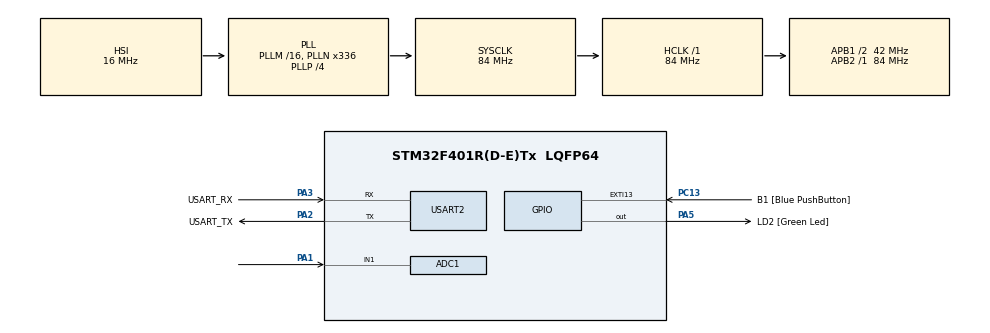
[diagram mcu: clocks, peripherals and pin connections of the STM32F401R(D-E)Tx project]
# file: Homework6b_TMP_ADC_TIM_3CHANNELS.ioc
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ADC1.Channel-0\#ChannelRegularConversion=ADC_CHANNEL_1
ADC1.Channel-1\#ChannelRegularConversion=ADC_CHANNEL_TEMPSENSOR
ADC1.Channel-2\#ChannelRegularConversion=ADC_CHANNEL_VREFINT
ADC1.ContinuousConvMode=DISABLE
ADC1.DMAContinuousRequests=ENABLE
ADC1.ExternalTrigConv=ADC_EXTERNALTRIGCONV_T2_TRGO
ADC1.InjNumberOfConversion=0
ADC1.NbrOfConversion=3
ADC1.NbrOfConversionFlag=1
ADC1.Rank-0\#ChannelRegularConversion=1
ADC1.Rank-1\#ChannelRegularConversion=2
ADC1.Rank-2\#ChannelRegularConversion=3
ADC1.SamplingTime-0\#ChannelRegularConversion=ADC_SAMPLETIME_480CYCLES
ADC1.SamplingTime-1\#ChannelRegularConversion=ADC_SAMPLETIME_480CYCLES
ADC1.SamplingTime-2\#ChannelRegularConversion=ADC_SAMPLETIME_480CYCLES
ADC1.ScanConvMode=ENABLE
ADC1.master=1
Dma.ADC1.0.Direction=DMA_PERIPH_TO_MEMORY
Dma.ADC1.0.FIFOMode=DMA_FIFOMODE_DISABLE
Dma.ADC1.0.Instance=DMA2_Stream0
Dma.ADC1.0.MemDataAlignment=DMA_MDATAALIGN_HALFWORD
Dma.ADC1.0.MemInc=DMA_MINC_ENABLE
Dma.ADC1.0.Mode=DMA_CIRCULAR
Dma.ADC1.0.PeriphDataAlignment=DMA_PDATAALIGN_HALFWORD
Dma.ADC1.0.PeriphInc=DMA_PINC_DISABLE
Dma.ADC1.0.Priority=DMA_PRIORITY_LOW
Dma.Request0=ADC1
Dma.Request1=USART2_TX
Dma.USART2_TX.1.Direction=DMA_MEMORY_TO_PERIPH
Dma.USART2_TX.1.FIFOMode=DMA_FIFOMODE_DISABLE
Dma.USART2_TX.1.Instance=DMA1_Stream6
Dma.USART2_TX.1.MemDataAlignment=DMA_MDATAALIGN_BYTE
Dma.USART2_TX.1.MemInc=DMA_MINC_ENABLE
Dma.USART2_TX.1.Mode=DMA_NORMAL
Dma.USART2_TX.1.PeriphDataAlignment=DMA_PDATAALIGN_BYTE
Dma.USART2_TX.1.PeriphInc=DMA_PINC_DISABLE
Dma.USART2_TX.1.Priority=DMA_PRIORITY_LOW
Mcu.Family=STM32F4
Mcu.Name=STM32F401R(D-E)Tx
Mcu.Package=LQFP64
NVIC.ADC_IRQn=true\:0\:0\:false\:false\:true\:true\:true\:true
NVIC.DMA1_Stream6_IRQn=true\:0\:0\:false\:false\:true\:false\:true\:true
NVIC.DMA2_Stream0_IRQn=true\:0\:0\:false\:false\:true\:false\:true\:true
NVIC.PriorityGroup=NVIC_PRIORITYGROUP_4
NVIC.USART2_IRQn=true\:0\:0\:false\:false\:true\:true\:true\:true
PA1.Signal=ADCx_IN1
PA13.GPIO_Label=TMS
PA13.Mode=Trace_Asynchronous_SW
PA13.Signal=SYS_JTMS-SWDIO
PA14.GPIO_Label=TCK
PA14.Mode=Trace_Asynchronous_SW
PA14.Signal=SYS_JTCK-SWCLK
PA2.GPIO_Label=USART_TX
PA2.GPIO_Mode=GPIO_MODE_AF_PP
PA2.GPIO_PuPd=GPIO_NOPULL
PA2.GPIO_Speed=GPIO_SPEED_FREQ_LOW
PA2.Mode=Asynchronous
PA2.Signal=USART2_TX
PA3.GPIO_Label=USART_RX
PA3.GPIO_Mode=GPIO_MODE_AF_PP
PA3.GPIO_PuPd=GPIO_NOPULL
PA3.GPIO_Speed=GPIO_SPEED_FREQ_LOW
PA3.Mode=Asynchronous
PA3.Signal=USART2_RX
PA5.GPIO_Label=LD2 [Green Led]
PA5.GPIO_Mode=GPIO_MODE_OUTPUT_PP
PA5.GPIO_PuPd=GPIO_NOPULL
PA5.GPIO_Speed=GPIO_SPEED_FREQ_LOW
PA5.Signal=GPIO_Output
PB3.GPIO_Label=SWO
PB3.Mode=Trace_Asynchronous_SW
PB3.Signal=SYS_JTDO-SWO
PC13-ANTI_TAMP.GPIO_Label=B1 [Blue PushButton]
PC13-ANTI_TAMP.GPIO_ModeDefaultEXTI=GPIO_MODE_IT_FALLING
PC13-ANTI_TAMP.GPIO_PuPd=GPIO_NOPULL
PC13-ANTI_TAMP.Signal=GPXTI13
PC14-OSC32_IN.Mode=LSE-External-Oscillator
PC14-OSC32_IN.Signal=RCC_OSC32_IN
PC15-OSC32_OUT.Mode=LSE-External-Oscillator
PC15-OSC32_OUT.Signal=RCC_OSC32_OUT
PH0\ -\ OSC_IN.Mode=HSE-External-Clock-Source
PH0\ -\ OSC_IN.Signal=RCC_OSC_IN
PH1\ -\ OSC_OUT.Mode=HSE-External-Clock-Source
PH1\ -\ OSC_OUT.Signal=RCC_OSC_OUT
ProjectManager.HeapSize=0x200
ProjectManager.StackSize=0x400
ProjectManager.TargetToolchain=STM32CubeIDE
RCC.48MHZClocksFreq_Value=48000000
RCC.AHBFreq_Value=84000000
RCC.APB1CLKDivider=RCC_HCLK_DIV2
RCC.APB1Freq_Value=42000000
RCC.APB1TimFreq_Value=84000000
RCC.APB2Freq_Value=84000000
RCC.APB2TimFreq_Value=84000000
RCC.CortexFreq_Value=84000000
RCC.HCLKFreq_Value=84000000
RCC.HSE_VALUE=8000000
RCC.HSI_VALUE=16000000
RCC.PLLN=336
RCC.PLLP=RCC_PLLP_DIV4
RCC.PLLQ=7
RCC.SYSCLKFreq_VALUE=84000000
RCC.SYSCLKSource=RCC_SYSCLKSOURCE_PLLCLK
RCC.VCOOutputFreq_Value=336000000
SH.ADCx_IN1.0=ADC1_IN1,IN1
TIM2.Period=10000-1
TIM2.Prescaler=8400-1
TIM2.TIM_MasterOutputTrigger=TIM_TRGO_UPDATE
USART2.VirtualMode=VM_ASYNC
VP_ADC1_TempSens_Input.Mode=IN-TempSens
VP_ADC1_Vref_Input.Mode=IN-Vrefint
VP_TIM2_VS_ClockSourceINT.Mode=Internal
board=NUCLEO-F401RE

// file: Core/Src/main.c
/* USER CODE BEGIN Header */
/**
  ******************************************************************************
  * @file           : main.c
  * @brief          : Main program body
  ******************************************************************************
  * @attention
  *
  * Copyright (c) 2025 STMicroelectronics.
  * All rights reserved.
  *
  * This software is licensed under terms that can be found in the LICENSE file
  * in the root directory of this software component.
  * If no LICENSE file comes with this software, it is provided AS-IS.
  *
  ******************************************************************************

  * GOAL:
  * Acquire 3 voltages (potentiometer, temperature sensor, Vref)
  * every 1 s and to send them to a remote terminal.
  * The acquisition are started via hardware by a timer
  * and data are saved in the microcontroller memory using DMA.
  */

/* USER CODE END Header */
#include "main.h"

/* USER CODE BEGIN Includes */
#include "string.h"
#include "stdio.h"
/* USER CODE END Includes */

/* USER CODE BEGIN PD */

#define BUFF_LEN 3 //for the 3 measurements
#define STR_LEN 64 // for the string that I have to send via UART
#define LSB 3.3/4096.0 //for the conversion from Digital to Analog (float)
/*Internal temperature sensor of the Nucleo board parameters*/
#define V_25 0.76 //Voltage measured at 25°C
#define AVG_SLOPE 2.5 // average slope of the TMP VS V CURVE [mV/°C]
/* USER CODE END PD */

ADC_HandleTypeDef hadc1;
DMA_HandleTypeDef hdma_adc1;

TIM_HandleTypeDef htim2;

UART_HandleTypeDef huart2;
DMA_HandleTypeDef hdma_usart2_tx;

/* USER CODE BEGIN PV */

uint16_t dig_value[BUFF_LEN];

float an_value[BUFF_LEN];

char string[STR_LEN];

float temp = 0.0;//used to implement the conversion formula

int length;

/* USER CODE END PV */

void SystemClock_Config(void);
static void MX_GPIO_Init(void);
static void MX_DMA_Init(void);
static void MX_USART2_UART_Init(void);
static void MX_ADC1_Init(void);
static void MX_TIM2_Init(void);

/* USER CODE BEGIN 0 */
/*Every conversion of the three channels force a ISR*/
void HAL_ADC_ConvCpltCallback (ADC_HandleTypeDef *hadc){
	if (hadc == &hadc1){
		for (int i = 0; i < BUFF_LEN; i++){
			an_value[i] = LSB*dig_value[i];
		}
		 //Conversion from voltage to Celsius degrees
		temp = (an_value[1]- V_25)/AVG_SLOPE + 25;

		length = snprintf(string, sizeof(string), "POT: %.3f, TMP: %.3f, VREF: %.3f \n",an_value[0], temp, an_value[2]);

		HAL_UART_Transmit_DMA(&huart2, string, length);
	}

}
/* USER CODE END 0 */

int main(void)
{

  /* MCU Configuration--------------------------------------------------------*/

  /* Reset of all peripherals, Initializes the Flash interface and the Systick. */
  HAL_Init();

  /* Configure the system clock */
  SystemClock_Config();

  /* Initialize all configured peripherals */
  MX_GPIO_Init();
  MX_DMA_Init();
  MX_USART2_UART_Init();
  MX_ADC1_Init();
  MX_TIM2_Init();
  /* USER CODE BEGIN 2 */

  /*PARAMETERS: (Which ADC, Where to save, how many values)
   * Enables ADC DMA request after last transfer (Single-ADC mode)
   * and enables ADC peripheral*/
  HAL_ADC_Start_DMA(&hadc1, dig_value, BUFF_LEN);

  __HAL_TIM_SET_COUNTER(&htim2, 0);

  HAL_TIM_Base_Start(&htim2);// start timer
  /* USER CODE END 2 */

  /* Infinite loop */
  while (1)
  {

  }
}

void SystemClock_Config(void)
{
  RCC_OscInitTypeDef RCC_OscInitStruct = {0};
  RCC_ClkInitTypeDef RCC_ClkInitStruct = {0};

  /** Configure the main internal regulator output voltage
  */
  __HAL_RCC_PWR_CLK_ENABLE();
  __HAL_PWR_VOLTAGESCALING_CONFIG(PWR_REGULATOR_VOLTAGE_SCALE2);

  /** Initializes the RCC Oscillators according to the specified parameters
  * in the RCC_OscInitTypeDef structure.
  */
  RCC_OscInitStruct.OscillatorType = RCC_OSCILLATORTYPE_HSI;
  RCC_OscInitStruct.HSIState = RCC_HSI_ON;
  RCC_OscInitStruct.HSICalibrationValue = RCC_HSICALIBRATION_DEFAULT;
  RCC_OscInitStruct.PLL.PLLState = RCC_PLL_ON;
  RCC_OscInitStruct.PLL.PLLSource = RCC_PLLSOURCE_HSI;
  RCC_OscInitStruct.PLL.PLLM = 16;
  RCC_OscInitStruct.PLL.PLLN = 336;
  RCC_OscInitStruct.PLL.PLLP = RCC_PLLP_DIV4;
  RCC_OscInitStruct.PLL.PLLQ = 7;
  if (HAL_RCC_OscConfig(&RCC_OscInitStruct) != HAL_OK)
  {
    Error_Handler();
  }

  /** Initializes the CPU, AHB and APB buses clocks
  */
  RCC_ClkInitStruct.ClockType = RCC_CLOCKTYPE_HCLK|RCC_CLOCKTYPE_SYSCLK
                              |RCC_CLOCKTYPE_PCLK1|RCC_CLOCKTYPE_PCLK2;
  RCC_ClkInitStruct.SYSCLKSource = RCC_SYSCLKSOURCE_PLLCLK;
  RCC_ClkInitStruct.AHBCLKDivider = RCC_SYSCLK_DIV1;
  RCC_ClkInitStruct.APB1CLKDivider = RCC_HCLK_DIV2;
  RCC_ClkInitStruct.APB2CLKDivider = RCC_HCLK_DIV1;

  if (HAL_RCC_ClockConfig(&RCC_ClkInitStruct, FLASH_LATENCY_2) != HAL_OK)
  {
    Error_Handler();
  }
}

static void MX_ADC1_Init(void)
{

  ADC_ChannelConfTypeDef sConfig = {0};

  /** Configure the global features of the ADC (Clock, Resolution, Data Alignment and number of conversion)
  */
  hadc1.Instance = ADC1;
  hadc1.Init.ClockPrescaler = ADC_CLOCK_SYNC_PCLK_DIV4;
  hadc1.Init.Resolution = ADC_RESOLUTION_12B;
  hadc1.Init.ScanConvMode = ENABLE;
  hadc1.Init.ContinuousConvMode = DISABLE;
  hadc1.Init.DiscontinuousConvMode = DISABLE;
  hadc1.Init.ExternalTrigConvEdge = ADC_EXTERNALTRIGCONVEDGE_RISING;
  hadc1.Init.ExternalTrigConv = ADC_EXTERNALTRIGCONV_T2_TRGO;
  hadc1.Init.DataAlign = ADC_DATAALIGN_RIGHT;
  hadc1.Init.NbrOfConversion = 3;
  hadc1.Init.DMAContinuousRequests = ENABLE;
  hadc1.Init.EOCSelection = ADC_EOC_SINGLE_CONV;
  if (HAL_ADC_Init(&hadc1) != HAL_OK)
  {
    Error_Handler();
  }

  /** Configure for the selected ADC regular channel its corresponding rank in the sequencer and its sample time.
  */
  sConfig.Channel = ADC_CHANNEL_1;
  sConfig.Rank = 1;
  sConfig.SamplingTime = ADC_SAMPLETIME_480CYCLES;
  if (HAL_ADC_ConfigChannel(&hadc1, &sConfig) != HAL_OK)
  {
    Error_Handler();
  }

  /** Configure for the selected ADC regular channel its corresponding rank in the sequencer and its sample time.
  */
  sConfig.Channel = ADC_CHANNEL_TEMPSENSOR;
  sConfig.Rank = 2;
  if (HAL_ADC_ConfigChannel(&hadc1, &sConfig) != HAL_OK)
  {
    Error_Handler();
  }

  /** Configure for the selected ADC regular channel its corresponding rank in the sequencer and its sample time.
  */
  sConfig.Channel = ADC_CHANNEL_VREFINT;
  sConfig.Rank = 3;
  if (HAL_ADC_ConfigChannel(&hadc1, &sConfig) != HAL_OK)
  {
    Error_Handler();
  }

}

static void MX_TIM2_Init(void)
{

  TIM_ClockConfigTypeDef sClockSourceConfig = {0};
  TIM_MasterConfigTypeDef sMasterConfig = {0};

  htim2.Instance = TIM2;
  htim2.Init.Prescaler = 8400-1;
  htim2.Init.CounterMode = TIM_COUNTERMODE_UP;
  htim2.Init.Period = 10000-1;
  htim2.Init.ClockDivision = TIM_CLOCKDIVISION_DIV1;
  htim2.Init.AutoReloadPreload = TIM_AUTORELOAD_PRELOAD_DISABLE;
  if (HAL_TIM_Base_Init(&htim2) != HAL_OK)
  {
    Error_Handler();
  }
  sClockSourceConfig.ClockSource = TIM_CLOCKSOURCE_INTERNAL;
  if (HAL_TIM_ConfigClockSource(&htim2, &sClockSourceConfig) != HAL_OK)
  {
    Error_Handler();
  }
  sMasterConfig.MasterOutputTrigger = TIM_TRGO_UPDATE;
  sMasterConfig.MasterSlaveMode = TIM_MASTERSLAVEMODE_DISABLE;
  if (HAL_TIMEx_MasterConfigSynchronization(&htim2, &sMasterConfig) != HAL_OK)
  {
    Error_Handler();
  }

}

static void MX_USART2_UART_Init(void)
{

  huart2.Instance = USART2;
  huart2.Init.BaudRate = 115200;
  huart2.Init.WordLength = UART_WORDLENGTH_8B;
  huart2.Init.StopBits = UART_STOPBITS_1;
  huart2.Init.Parity = UART_PARITY_NONE;
  huart2.Init.Mode = UART_MODE_TX_RX;
  huart2.Init.HwFlowCtl = UART_HWCONTROL_NONE;
  huart2.Init.OverSampling = UART_OVERSAMPLING_16;
  if (HAL_UART_Init(&huart2) != HAL_OK)
  {
    Error_Handler();
  }

}

static void MX_DMA_Init(void)
{

  /* DMA controller clock enable */
  __HAL_RCC_DMA2_CLK_ENABLE();
  __HAL_RCC_DMA1_CLK_ENABLE();

  /* DMA interrupt init */
  /* DMA1_Stream6_IRQn interrupt configuration */
  HAL_NVIC_SetPriority(DMA1_Stream6_IRQn, 0, 0);
  HAL_NVIC_EnableIRQ(DMA1_Stream6_IRQn);
  /* DMA2_Stream0_IRQn interrupt configuration */
  HAL_NVIC_SetPriority(DMA2_Stream0_IRQn, 0, 0);
  HAL_NVIC_EnableIRQ(DMA2_Stream0_IRQn);

}

static void MX_GPIO_Init(void)
{
  GPIO_InitTypeDef GPIO_InitStruct = {0};

  /* GPIO Ports Clock Enable */
  __HAL_RCC_GPIOC_CLK_ENABLE();
  __HAL_RCC_GPIOH_CLK_ENABLE();
  __HAL_RCC_GPIOA_CLK_ENABLE();
  __HAL_RCC_GPIOB_CLK_ENABLE();

  /*Configure GPIO pin Output Level */
  HAL_GPIO_WritePin(LD2_GPIO_Port, LD2_Pin, GPIO_PIN_RESET);

  /*Configure GPIO pin : B1_Pin */
  GPIO_InitStruct.Pin = B1_Pin;
  GPIO_InitStruct.Mode = GPIO_MODE_IT_FALLING;
  GPIO_InitStruct.Pull = GPIO_NOPULL;
  HAL_GPIO_Init(B1_GPIO_Port, &GPIO_InitStruct);

  /*Configure GPIO pin : LD2_Pin */
  GPIO_InitStruct.Pin = LD2_Pin;
  GPIO_InitStruct.Mode = GPIO_MODE_OUTPUT_PP;
  GPIO_InitStruct.Pull = GPIO_NOPULL;
  GPIO_InitStruct.Speed = GPIO_SPEED_FREQ_LOW;
  HAL_GPIO_Init(LD2_GPIO_Port, &GPIO_InitStruct);

}

void Error_Handler(void)
{
  __disable_irq();
  while (1)
  {
  }
}
